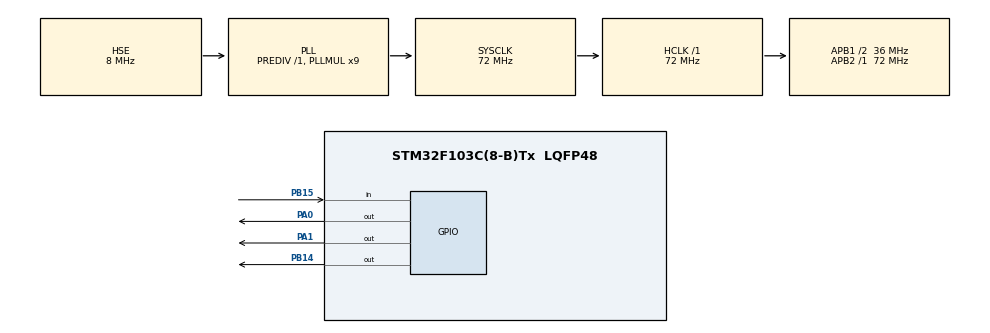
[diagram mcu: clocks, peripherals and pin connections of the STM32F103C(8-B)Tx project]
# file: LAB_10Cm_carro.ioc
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Mcu.Family=STM32F1
Mcu.Name=STM32F103C(8-B)Tx
Mcu.Package=LQFP48
NVIC.PriorityGroup=NVIC_PRIORITYGROUP_4
PA0-WKUP.Signal=GPIO_Output
PA1.Signal=GPIO_Output
PA13.Mode=Serial_Wire
PA13.Signal=SYS_JTMS-SWDIO
PA14.Mode=Serial_Wire
PA14.Signal=SYS_JTCK-SWCLK
PB14.Signal=GPIO_Output
PB15.Signal=GPIO_Input
PD0-OSC_IN.Mode=HSE-External-Oscillator
PD0-OSC_IN.Signal=RCC_OSC_IN
PD1-OSC_OUT.Mode=HSE-External-Oscillator
PD1-OSC_OUT.Signal=RCC_OSC_OUT
ProjectManager.HeapSize=0x200
ProjectManager.StackSize=0x400
ProjectManager.TargetToolchain=STM32CubeIDE
RCC.AHBFreq_Value=72000000
RCC.APB1CLKDivider=RCC_HCLK_DIV2
RCC.APB1Freq_Value=36000000
RCC.APB1TimFreq_Value=72000000
RCC.APB2Freq_Value=72000000
RCC.APB2TimFreq_Value=72000000
RCC.HCLKFreq_Value=72000000
RCC.PLLMUL=RCC_PLL_MUL9
RCC.PLLSourceVirtual=RCC_PLLSOURCE_HSE
RCC.SYSCLKFreq_VALUE=72000000
RCC.SYSCLKSource=RCC_SYSCLKSOURCE_PLLCLK
RCC.USBFreq_Value=72000000
TIM2.Prescaler=71
VP_TIM2_VS_ClockSourceINT.Mode=Internal
board=custom

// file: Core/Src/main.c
/* USER CODE BEGIN Header */
/**
  ******************************************************************************
  * @file           : main.c
  * @brief          : Main program body
  ******************************************************************************
  * @attention
  *
  * Copyright (c) 2026 STMicroelectronics.
  * All rights reserved.
  *
  * This software is licensed under terms that can be found in the LICENSE file
  * in the root directory of this software component.
  * If no LICENSE file comes with this software, it is provided AS-IS.
  *
  ******************************************************************************
  */
/* USER CODE END Header */
#include "main.h"

TIM_HandleTypeDef htim2;

/* USER CODE BEGIN PV */
uint32_t contador = 0;
/* USER CODE END PV */

void SystemClock_Config(void);
static void MX_GPIO_Init(void);
static void MX_TIM2_Init(void);
/* USER CODE BEGIN PFP */
void delay_us(uint16_t us);
uint32_t medir_distancia(void);
/* USER CODE END PFP */

/* USER CODE BEGIN 0 */
// Retardo preciso en microsegundos usando el contador de TIM2
void delay_us(uint16_t us)
{
    __HAL_TIM_SET_COUNTER(&htim2, 0);
    while (__HAL_TIM_GET_COUNTER(&htim2) < us);
}

// Envío de pulso Trig y medición del pulso Echo
uint32_t medir_distancia(void)
{
    uint32_t tiempo_inicio = 0;

    // 1. Pulso Trig de 10us por PB14
    HAL_GPIO_WritePin(GPIOB, GPIO_PIN_14, GPIO_PIN_SET);
    delay_us(10);
    HAL_GPIO_WritePin(GPIOB, GPIO_PIN_14, GPIO_PIN_RESET);

    // 2. Esperar inicio del eco (PB15 pasa a ALTO)
    tiempo_inicio = HAL_GetTick();
    while (!HAL_GPIO_ReadPin(GPIOB, GPIO_PIN_15))
    {
        if ((HAL_GetTick() - tiempo_inicio) > 10)
        {
            contador = 0; // Corregido: 0 asigna fallo/timeout para frenar por seguridad
            return contador;
        }
    }

    // Reiniciar contador de TIM2
    __HAL_TIM_SET_COUNTER(&htim2, 0);

    // 3. Esperar fin del eco (PB15 pasa a BAJO)
    tiempo_inicio = HAL_GetTick();
    while (HAL_GPIO_ReadPin(GPIOB, GPIO_PIN_15))
    {
        if ((HAL_GetTick() - tiempo_inicio) > 50)
        {
            contador = 0; // Timeout si el pin se queda pegado en ALTO
            return contador;
        }
    }

    // Guardar microsegundos transcurridos
    contador = __HAL_TIM_GET_COUNTER(&htim2);

    return contador;
}
/* USER CODE END 0 */

int main(void)
{

  /* MCU Configuration--------------------------------------------------------*/

  /* Reset of all peripherals, Initializes the Flash interface and the Systick. */
  HAL_Init();

  /* Configure the system clock */
  SystemClock_Config();

  /* Initialize all configured peripherals */
  MX_GPIO_Init();
  MX_TIM2_Init();
  /* USER CODE BEGIN 2 */
  // Iniciar el temporizador TIM2
  HAL_TIM_Base_Start(&htim2);
  /* USER CODE END 2 */

  /* Infinite loop */
  while (1)
  {

    /* USER CODE BEGIN 3 */
    contador = medir_distancia();

    if (contador > 1280)  // Más de ~10 cm -> avanzar (ambos motores encendidos)
    {
        HAL_GPIO_WritePin(GPIOA, GPIO_PIN_1, GPIO_PIN_SET);   // PA1 = 1
        HAL_GPIO_WritePin(GPIOA, GPIO_PIN_2, GPIO_PIN_SET);   // PA2 = 1
    }
    else  // 10 cm o menos (o fallo/timeout = 0) -> frenar
    {
        HAL_GPIO_WritePin(GPIOA, GPIO_PIN_1, GPIO_PIN_RESET); // PA1 = 0
        HAL_GPIO_WritePin(GPIOA, GPIO_PIN_2, GPIO_PIN_RESET); // PA2 = 0
    }

    HAL_Delay(60); // Pausa recomendada entre mediciones del sensor
  }
  /* USER CODE END 3 */
}

void SystemClock_Config(void)
{
  RCC_OscInitTypeDef RCC_OscInitStruct = {0};
  RCC_ClkInitTypeDef RCC_ClkInitStruct = {0};

  /** Initializes the RCC Oscillators according to the specified parameters
  * in the RCC_OscInitTypeDef structure.
  */
  RCC_OscInitStruct.OscillatorType = RCC_OSCILLATORTYPE_HSE;
  RCC_OscInitStruct.HSEState = RCC_HSE_ON;
  RCC_OscInitStruct.HSEPredivValue = RCC_HSE_PREDIV_DIV1;
  RCC_OscInitStruct.HSIState = RCC_HSI_ON;
  RCC_OscInitStruct.PLL.PLLState = RCC_PLL_ON;
  RCC_OscInitStruct.PLL.PLLSource = RCC_PLLSOURCE_HSE;
  RCC_OscInitStruct.PLL.PLLMUL = RCC_PLL_MUL9;
  if (HAL_RCC_OscConfig(&RCC_OscInitStruct) != HAL_OK)
  {
    Error_Handler();
  }

  /** Initializes the CPU, AHB and APB buses clocks
  */
  RCC_ClkInitStruct.ClockType = RCC_CLOCKTYPE_HCLK|RCC_CLOCKTYPE_SYSCLK
                              |RCC_CLOCKTYPE_PCLK1|RCC_CLOCKTYPE_PCLK2;
  RCC_ClkInitStruct.SYSCLKSource = RCC_SYSCLKSOURCE_PLLCLK;
  RCC_ClkInitStruct.AHBCLKDivider = RCC_SYSCLK_DIV1;
  RCC_ClkInitStruct.APB1CLKDivider = RCC_HCLK_DIV2;
  RCC_ClkInitStruct.APB2CLKDivider = RCC_HCLK_DIV1;

  if (HAL_RCC_ClockConfig(&RCC_ClkInitStruct, FLASH_LATENCY_2) != HAL_OK)
  {
    Error_Handler();
  }
}

static void MX_TIM2_Init(void)
{

  TIM_ClockConfigTypeDef sClockSourceConfig = {0};
  TIM_MasterConfigTypeDef sMasterConfig = {0};

  htim2.Instance = TIM2;
  htim2.Init.Prescaler = 71;
  htim2.Init.CounterMode = TIM_COUNTERMODE_UP;
  htim2.Init.Period = 65535;
  htim2.Init.ClockDivision = TIM_CLOCKDIVISION_DIV1;
  htim2.Init.AutoReloadPreload = TIM_AUTORELOAD_PRELOAD_DISABLE;
  if (HAL_TIM_Base_Init(&htim2) != HAL_OK)
  {
    Error_Handler();
  }
  sClockSourceConfig.ClockSource = TIM_CLOCKSOURCE_INTERNAL;
  if (HAL_TIM_ConfigClockSource(&htim2, &sClockSourceConfig) != HAL_OK)
  {
    Error_Handler();
  }
  sMasterConfig.MasterOutputTrigger = TIM_TRGO_RESET;
  sMasterConfig.MasterSlaveMode = TIM_MASTERSLAVEMODE_DISABLE;
  if (HAL_TIMEx_MasterConfigSynchronization(&htim2, &sMasterConfig) != HAL_OK)
  {
    Error_Handler();
  }

}

static void MX_GPIO_Init(void)
{
  GPIO_InitTypeDef GPIO_InitStruct = {0};

  /* GPIO Ports Clock Enable */
  __HAL_RCC_GPIOD_CLK_ENABLE();
  __HAL_RCC_GPIOA_CLK_ENABLE();
  __HAL_RCC_GPIOB_CLK_ENABLE();

  /*Configure GPIO pin Output Level */
  HAL_GPIO_WritePin(GPIOA, GPIO_PIN_0|GPIO_PIN_1, GPIO_PIN_RESET);

  /*Configure GPIO pin Output Level */
  HAL_GPIO_WritePin(GPIOB, GPIO_PIN_14, GPIO_PIN_RESET);

  /*Configure GPIO pins : PA0 PA1 */
  GPIO_InitStruct.Pin = GPIO_PIN_0|GPIO_PIN_1;
  GPIO_InitStruct.Mode = GPIO_MODE_OUTPUT_PP;
  GPIO_InitStruct.Pull = GPIO_NOPULL;
  GPIO_InitStruct.Speed = GPIO_SPEED_FREQ_LOW;
  HAL_GPIO_Init(GPIOA, &GPIO_InitStruct);

  /*Configure GPIO pin : PB14 */
  GPIO_InitStruct.Pin = GPIO_PIN_14;
  GPIO_InitStruct.Mode = GPIO_MODE_OUTPUT_PP;
  GPIO_InitStruct.Pull = GPIO_NOPULL;
  GPIO_InitStruct.Speed = GPIO_SPEED_FREQ_LOW;
  HAL_GPIO_Init(GPIOB, &GPIO_InitStruct);

  /*Configure GPIO pin : PB15 */
  GPIO_InitStruct.Pin = GPIO_PIN_15;
  GPIO_InitStruct.Mode = GPIO_MODE_INPUT;
  GPIO_InitStruct.Pull = GPIO_NOPULL;
  HAL_GPIO_Init(GPIOB, &GPIO_InitStruct);

}

void Error_Handler(void)
{
  __disable_irq();
  while (1)
  {
  }
}
